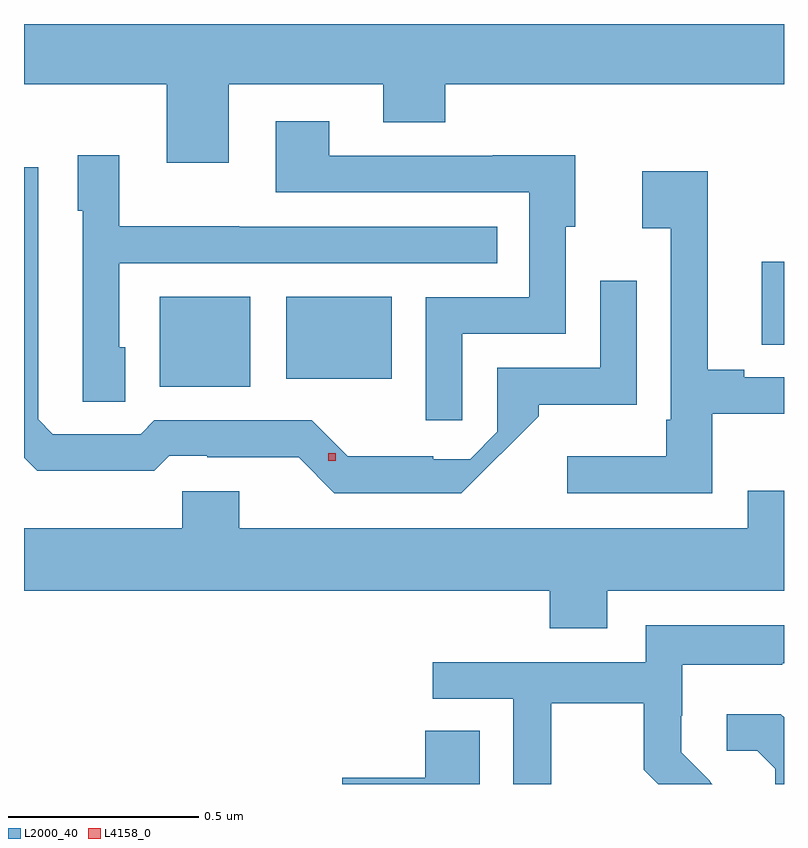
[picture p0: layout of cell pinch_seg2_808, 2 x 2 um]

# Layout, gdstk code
import gdstk
lib = gdstk.Library(unit=1e-6, precision=1e-09)
def R(c, l, rs):  # rectangles x0, y0, x1, y1
    for r in rs: c.add(gdstk.rectangle(r[:2], r[2:], *l))
def P(c, l, *ps):  # polygons
    for p in ps: c.add(gdstk.Polygon(p, *l))
L2000_40 = (2000, 40)
L4158_0 = (4158, 0)

pinch_seg2_808 = lib.new_cell('pinch_seg2_808')
R(pinch_seg2_808, L2000_40, [(730.751,629.525,730.99,629.761), (731.084,629.546,731.362,629.761), (732.335,629.635,732.394,629.854)])
P(pinch_seg2_808, L2000_40, [(730.933,630.32),(731.339,630.32),(731.339,630.221),(731.503,630.221),(731.503,630.32),(732.394,630.32),(732.394,630.479),(730.394,630.479),(730.394,630.32),(730.769,630.32),(730.769,630.114),(730.933,630.114)],
  [(731.547,629.664),(731.82,629.664),(731.82,629.946),(731.845,629.946),(731.845,630.134),(731.627,630.134),(731.627,630.132),(731.197,630.132),(731.197,630.223),(731.057,630.223),(731.057,630.036),(731.724,630.036),(731.724,629.76),(731.451,629.76),(731.451,629.436),(731.547,629.436)],
  [(730.66,629.628),(730.644,629.628),(730.644,629.85),(731.639,629.85),(731.639,629.946),(730.961,629.946),(730.961,629.947),(730.644,629.947),(730.644,630.133),(730.535,630.133),(730.535,629.988),(730.548,629.988),(730.548,629.485),(730.66,629.485)],
  [(731.748,629.447),(731.748,629.477),(732.006,629.477),(732.006,629.803),(731.91,629.803),(731.91,629.574),(731.64,629.574),(731.64,629.406),(731.568,629.334),(731.471,629.334),(731.471,629.342),(731.246,629.342),(731.151,629.436),(730.737,629.436),(730.701,629.4),(730.47,629.4),(730.431,629.439),(730.431,630.102),(730.394,630.102),(730.394,629.338),(730.429,629.304),(730.737,629.304),(730.776,629.343),(730.876,629.343),(730.876,629.339),(731.117,629.339),(731.211,629.244),(731.545,629.244)],
  [(732.205,629.453),(732.394,629.453),(732.394,629.55),(732.289,629.55),(732.289,629.569),(732.193,629.569),(732.193,630.091),(732.021,630.091),(732.021,629.942),(732.096,629.942),(732.096,629.437),(732.084,629.437),(732.084,629.341),(731.823,629.341),(731.823,629.244),(732.205,629.244)],
  [(731.929,628.988),(732.394,628.988),(732.394,629.251),(732.299,629.251),(732.299,629.152),(730.96,629.152),(730.96,629.25),(730.81,629.25),(730.81,629.152),(730.394,629.152),(730.394,628.988),(731.777,628.988),(731.777,628.889),(731.929,628.889)],
  [(731.781,628.692),(732.025,628.692),(732.025,628.517),(732.063,628.479),(732.205,628.479),(732.197,628.487),(732.198,628.488),(732.124,628.562),(732.124,628.659),(732.126,628.659),(732.126,628.793),(732.389,628.793),(732.389,628.797),(732.394,628.797),(732.394,628.897),(732.03,628.897),(732.03,628.8),(731.469,628.8),(731.469,628.704),(731.682,628.704),(731.682,628.479),(731.781,628.479)],
  [(732.394,628.655),(732.386,628.663),(732.243,628.663),(732.243,628.566),(732.324,628.566),(732.371,628.519),(732.371,628.479),(732.394,628.479)],
  [(731.593,628.619),(731.45,628.619),(731.45,628.496),(731.232,628.496),(731.232,628.479),(731.593,628.479)])
R(pinch_seg2_808, L4158_0, [(731.194,629.33,731.214,629.35)])

lib.write_gds('pinch_seg2_808.gds')
